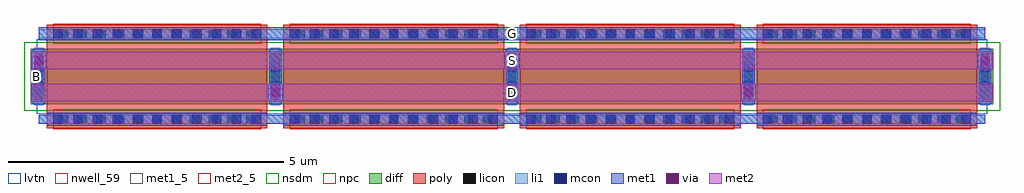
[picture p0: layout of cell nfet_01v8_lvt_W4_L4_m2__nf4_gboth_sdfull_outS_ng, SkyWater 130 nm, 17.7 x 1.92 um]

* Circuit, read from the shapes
.subckt nfet_01v8_lvt_W4_L4_m2__nf4_gboth_sdfull_outS_ng B D G S
XM1 D G S B sky130_fd_pr__nfet_01v8_lvt w=1 l=4 m=4
.ends

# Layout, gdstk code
import gdstk
lib = gdstk.Library(unit=1e-6, precision=1e-09)
def R(c, l, rs):  # rectangles x0, y0, x1, y1
    for r in rs: c.add(gdstk.rectangle(r[:2], r[2:], *l))
def A(c, l, x, y, w, h, nx, ny, dx, dy):  # array of equal rectangles
    R(c, l, [(x+i*dx, y+j*dy, x+i*dx+w, y+j*dy+h) for i in range(nx) for j in range(ny)])
nwell_59 = (64, 59)
diff = (65, 20)
poly = (66, 20)
licon = (66, 44)
li1 = (67, 20)
mcon = (67, 44)
met1_5 = (68, 5)
met1 = (68, 20)
via = (68, 44)
met2_5 = (69, 5)
met2 = (69, 20)
nsdm = (93, 44)
npc = (95, 20)
lvtn = (125, 44)

sky130_fd_pr__nfet_01v8_ = lib.new_cell('sky130_fd_pr__nfet_01v8_lvt_4XRYMB')
R(sky130_fd_pr__nfet_01v8_, diff, [(-8.725,-0.5,8.725,0.5)])
A(sky130_fd_pr__nfet_01v8_, poly, -8.435, -0.94, 4, 1.88, 4, 1, 4.29, 0)
A(sky130_fd_pr__nfet_01v8_, licon, -8.22, -0.86, 0.17, 0.17, 11, 2, 0.34, 1.55)
A(sky130_fd_pr__nfet_01v8_, licon, -3.93, -0.86, 0.17, 0.17, 11, 2, 0.34, 1.55)
A(sky130_fd_pr__nfet_01v8_, licon, 0.36, -0.86, 0.17, 0.17, 11, 2, 0.34, 1.55)
A(sky130_fd_pr__nfet_01v8_, licon, 4.65, -0.86, 0.17, 0.17, 11, 2, 0.34, 1.55)
A(sky130_fd_pr__nfet_01v8_, licon, -8.665, -0.425, 0.17, 0.17, 5, 3, 4.29, 0.34)
A(sky130_fd_pr__nfet_01v8_, li1, -8.665, -0.52, 0.17, 1.04, 5, 1, 4.29, 0)
R(sky130_fd_pr__nfet_01v8_, li1, [(-8.58,-0.86,8.58,-0.69), (-8.58,0.69,8.58,0.86)])
A(sky130_fd_pr__nfet_01v8_, mcon, -8.32, -0.86, 0.17, 0.17, 11, 2, 0.36, 1.55)
A(sky130_fd_pr__nfet_01v8_, mcon, -4.03, -0.86, 0.17, 0.17, 11, 2, 0.36, 1.55)
A(sky130_fd_pr__nfet_01v8_, mcon, 0.26, -0.86, 0.17, 0.17, 11, 2, 0.36, 1.55)
A(sky130_fd_pr__nfet_01v8_, mcon, 4.55, -0.86, 0.17, 0.17, 11, 2, 0.36, 1.55)
A(sky130_fd_pr__nfet_01v8_, mcon, -8.665, -0.265, 0.17, 0.17, 5, 2, 4.29, 0.36)
A(sky130_fd_pr__nfet_01v8_, met1, -8.415, -0.89, 3.96, 0.03, 4, 2, 4.29, 0.2)
A(sky130_fd_pr__nfet_01v8_, met1, -8.695, -0.5, 0.23, 1, 5, 1, 4.29, 0)
A(sky130_fd_pr__nfet_01v8_, met1, -8.415, 0.66, 3.96, 0.03, 4, 2, 4.29, 0.2)
R(sky130_fd_pr__nfet_01v8_, met1, [(-8.58,-0.86,8.58,-0.69), (-8.58,0.69,8.58,0.86)])
R(sky130_fd_pr__nfet_01v8_, nsdm, [(-8.85,-0.625,8.85,0.625)])
A(sky130_fd_pr__nfet_01v8_, npc, -8.32, -0.96, 3.77, 0.37, 4, 2, 4.29, 1.55)
R(sky130_fd_pr__nfet_01v8_, lvtn, [(-8.615,-0.68,8.615,0.68)])
sky130_fd_pr__nfet_01v8_.add(gdstk.Label('D0', (-8.58,0), layer=67, texttype=5))
sky130_fd_pr__nfet_01v8_.add(gdstk.Label('G', (6.435,0.775), layer=67, texttype=5))
sky130_fd_pr__nfet_01v8_.add(gdstk.Label('G', (2.145,0.775), layer=67, texttype=5))
sky130_fd_pr__nfet_01v8_.add(gdstk.Label('G', (-2.145,0.775), layer=67, texttype=5))
sky130_fd_pr__nfet_01v8_.add(gdstk.Label('G', (-6.435,0.775), layer=67, texttype=5))
sky130_fd_pr__nfet_01v8_.add(gdstk.Label('S1', (-4.29,0), layer=67, texttype=5))
sky130_fd_pr__nfet_01v8_.add(gdstk.Label('D2', (0,0), layer=67, texttype=5))
sky130_fd_pr__nfet_01v8_.add(gdstk.Label('S3', (4.29,0), layer=67, texttype=5))

nfet_01v8_lvt_w4_l4_m2__ = lib.new_cell('nfet_01v8_lvt_W4_L4_m2__nf4_gboth_sdfull_outS_ng')
R(nfet_01v8_lvt_w4_l4_m2__, nwell_59, [(0.05,0.89,0.15,0.99)])
R(nfet_01v8_lvt_w4_l4_m2__, met1_5, [(0.145,1.6,17.305,1.83)])
A(nfet_01v8_lvt_w4_l4_m2__, met1, 0.015, 1.07, 0.26, 0.32, 3, 1, 8.58, 0)
R(nfet_01v8_lvt_w4_l4_m2__, met1, [(4.305,0.49,4.565,0.81), (12.885,0.49,13.145,0.81), (0.145,1.6,17.305,1.83)])
A(nfet_01v8_lvt_w4_l4_m2__, via, 0.07, 1.155, 0.15, 0.15, 3, 1, 8.58, 0)
R(nfet_01v8_lvt_w4_l4_m2__, via, [(4.36,0.575,4.51,0.725), (12.94,0.575,13.09,0.725)])
R(nfet_01v8_lvt_w4_l4_m2__, met2_5, [(0.01,0.49,17.44,0.81), (0.01,1.07,17.44,1.39)])
R(nfet_01v8_lvt_w4_l4_m2__, met2, [(0.01,0.49,17.44,0.81), (0.01,1.07,17.44,1.39)])
nfet_01v8_lvt_w4_l4_m2__.add(gdstk.Reference(sky130_fd_pr__nfet_01v8_, (8.725,0.94)))
nfet_01v8_lvt_w4_l4_m2__.add(gdstk.Label('S', (8.725,1.23), layer=69, texttype=5))
nfet_01v8_lvt_w4_l4_m2__.add(gdstk.Label('D', (8.725,0.65), layer=69, texttype=5))
nfet_01v8_lvt_w4_l4_m2__.add(gdstk.Label('G', (8.725,1.715), layer=68, texttype=5))
nfet_01v8_lvt_w4_l4_m2__.add(gdstk.Label('B', (0.1,0.94), layer=64, texttype=59))

lib.write_gds('nfet_01v8_lvt_W4_L4_m2__nf4_gboth_sdfull_outS_ng.gds')
